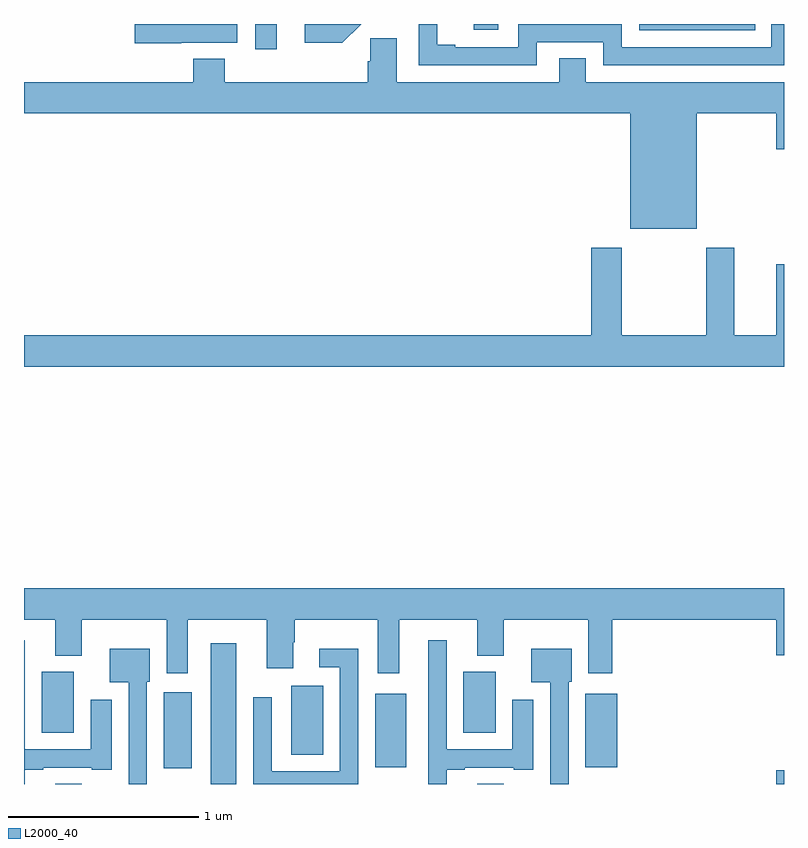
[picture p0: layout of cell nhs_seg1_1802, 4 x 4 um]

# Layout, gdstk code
import gdstk
lib = gdstk.Library(unit=1e-6, precision=1e-09)
def R(c, l, rs):  # rectangles x0, y0, x1, y1
    for r in rs: c.add(gdstk.rectangle(r[:2], r[2:], *l))
def P(c, l, *ps):  # polygons
    for p in ps: c.add(gdstk.Polygon(p, *l))
L2000_40 = (2000, 40)

nhs_seg1_1802 = lib.new_cell('nhs_seg1_1802')
R(nhs_seg1_1802, L2000_40, [(209.165,552.199,209.305,552.2), (209.984,552.199,210.118,552.94), (211.385,552.199,211.525,552.2), (212.96,552.199,213,552.271), (209.735,552.283,209.884,552.682), (210.848,552.287,211.012,552.673), (211.955,552.287,212.122,552.673), (210.407,552.352,210.574,552.715), (209.093,552.47,209.263,552.79), (211.313,552.47,211.483,552.79), (210.216,556.065,210.331,556.199), (212.238,556.166,212.849,556.199), (211.367,556.17,211.495,556.199)])
P(nhs_seg1_1802, L2000_40, [(211.698,556.104),(212.049,556.104),(212.049,555.981),(213,555.981),(213,556.199),(212.934,556.199),(212.934,556.077),(212.145,556.077),(212.145,556.199),(211.602,556.199),(211.602,556.077),(211.27,556.077),(211.27,556.09),(211.175,556.09),(211.175,556.199),(211.077,556.199),(211.077,555.981),(211.698,555.981)],
  [(210.776,556.199),(210.635,556.199),(210.633,556.197),(210.477,556.197),(210.477,556.1),(210.676,556.1)],
  [(209.827,556.101),(210.123,556.101),(210.123,556.199),(210.027,556.199),(210.027,556.197),(209.583,556.197),(209.583,556.097),(209.827,556.097)],
  [(212.542,555.728),(212.96,555.728),(212.96,555.54),(213,555.54),(213,555.892),(211.957,555.892),(211.957,556.019),(211.817,556.019),(211.817,555.892),(210.961,555.892),(210.961,556.124),(210.823,556.124),(210.823,556.004),(210.809,556.004),(210.809,555.892),(210.056,555.892),(210.056,556.016),(209.891,556.016),(209.891,555.892),(209,555.892),(209,555.728),(212.192,555.728),(212.192,555.122),(212.542,555.122)],
  [(213,554.935),(212.96,554.935),(212.96,554.56),(212.737,554.56),(212.737,555.022),(212.59,555.022),(212.59,554.56),(212.145,554.56),(212.145,555.022),(211.985,555.022),(211.985,554.56),(209,554.56),(209,554.396),(213,554.396)],
  [(209.863,553.064),(210.278,553.064),(210.278,552.807),(210.418,552.807),(210.418,552.944),(210.426,552.944),(210.426,553.064),(210.863,553.064),(210.863,552.783),(210.976,552.783),(210.976,553.064),(211.385,553.064),(211.385,552.875),(211.525,552.875),(211.525,553.064),(211.97,553.064),(211.97,552.783),(212.096,552.783),(212.096,553.064),(212.96,553.064),(212.96,552.876),(213,552.876),(213,553.228),(209,553.228),(209,553.064),(209.165,553.064),(209.165,552.875),(209.305,552.875),(209.305,553.064),(209.75,553.064),(209.75,552.783),(209.863,552.783)],
  [(209.005,552.273),(209.101,552.273),(209.101,552.285),(209.357,552.285),(209.357,552.273),(209.461,552.273),(209.461,552.643),(209.351,552.643),(209.351,552.381),(209.004,552.381),(209.004,552.955),(209,552.955),(209,552.199),(209.005,552.199)],
  [(211.225,552.273),(211.321,552.273),(211.321,552.285),(211.577,552.285),(211.577,552.273),(211.681,552.273),(211.681,552.643),(211.571,552.643),(211.571,552.381),(211.224,552.381),(211.224,552.955),(211.128,552.955),(211.128,552.199),(211.225,552.199)],
  [(209.646,552.738),(209.662,552.738),(209.662,552.91),(209.45,552.91),(209.45,552.734),(209.55,552.734),(209.55,552.199),(209.646,552.199)],
  [(210.759,552.91),(210.555,552.91),(210.555,552.813),(210.663,552.813),(210.663,552.267),(210.303,552.267),(210.303,552.655),(210.207,552.655),(210.207,552.199),(210.759,552.199)],
  [(211.866,552.738),(211.882,552.738),(211.882,552.91),(211.67,552.91),(211.67,552.734),(211.77,552.734),(211.77,552.199),(211.866,552.199)])

lib.write_gds('nhs_seg1_1802.gds')
